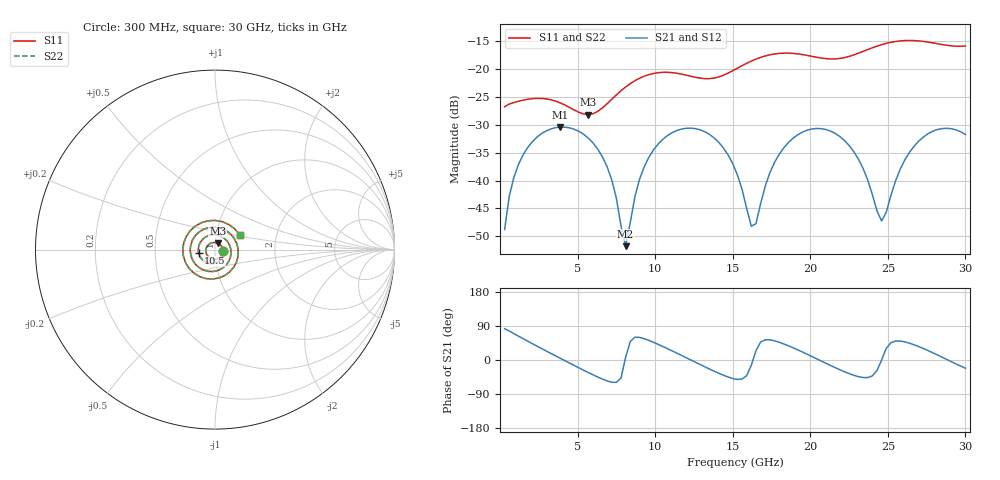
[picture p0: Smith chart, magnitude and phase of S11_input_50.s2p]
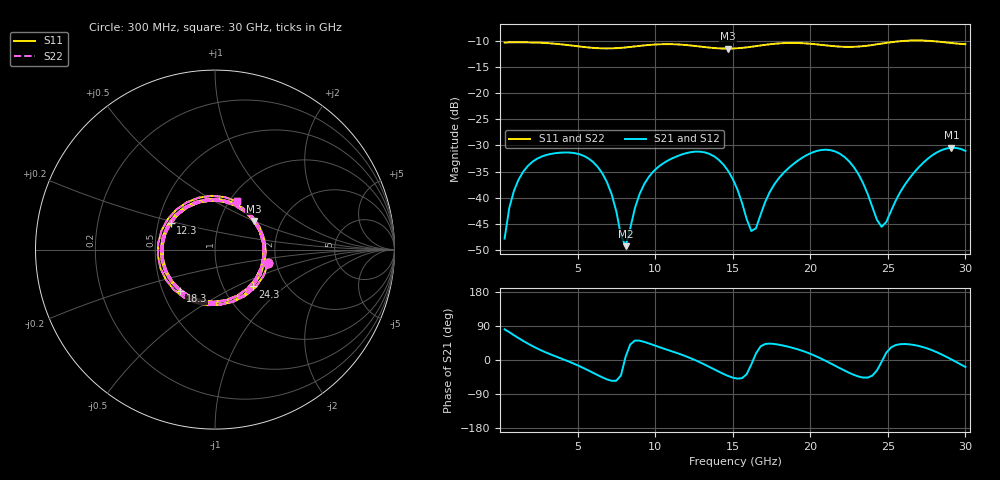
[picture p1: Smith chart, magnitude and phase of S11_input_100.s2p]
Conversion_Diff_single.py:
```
import matplotlib.pyplot as plt
import skrf as rf
from skrf import Network
import numpy as np
import math, cmath


plt.rcParams["font.family"] = "Century Gothic"
plt.rcParams["font.size"] = "14"

SP_input_50  = Network("SP/Test_diff/S11_input_50.s2p")
SP_input_100 = Network("SP/Test_diff/S11_input_100.s2p")
SP_input_200 = Network("SP/Test_diff/S11_input_200.s2p")
SP_input_400 = Network("SP/Test_diff/S11_input_400.s2p")

SP_load_50  = Network("SP/Test_diff/S11_load_50.s2p")
SP_load_100 = Network("SP/Test_diff/S11_load_100.s2p")
SP_load_200 = Network("SP/Test_diff/S11_load_200.s2p")
SP_load_400 = Network("SP/Test_diff/S11_load_400.s2p")

Sdd11_load_50  = 0.5*(SP_load_50.s[:, 1-1, 1-1]+SP_load_50.s[:, 2-1, 2-1])
Sdd11_load_100 = 0.5*(SP_load_100.s[:, 1-1, 1-1]+SP_load_100.s[:, 2-1, 2-1])
Sdd11_load_200 = 0.5*(SP_load_200.s[:, 1-1, 1-1]+SP_load_200.s[:, 2-1, 2-1])
Sdd11_load_400 = 0.5*(SP_load_400.s[:, 1-1, 1-1]+SP_load_400.s[:, 2-1, 2-1])

Sdd11_input_50   = 0.5*(SP_input_50.s[:, 1-1, 1-1]-SP_input_50.s[:, 1-1, 2-1]-SP_input_50.s[:, 2-1, 1-1]+SP_input_50.s[:, 2-1, 2-1])
Sdd11_input_100  = 0.5*(SP_input_100.s[:, 1-1, 1-1]-SP_input_100.s[:, 1-1, 2-1]-SP_input_100.s[:, 2-1, 1-1]+SP_input_100.s[:, 2-1, 2-1])
Sdd11_input_200  = 0.5*(SP_input_200.s[:, 1-1, 1-1]-SP_input_200.s[:, 1-1, 2-1]-SP_input_200.s[:, 2-1, 1-1]+SP_input_200.s[:, 2-1, 2-1])
Sdd11_input_400  = 0.5*(SP_input_400.s[:, 1-1, 1-1]-SP_input_400.s[:, 1-1, 2-1]-SP_input_400.s[:, 2-1, 1-1]+SP_input_400.s[:, 2-1, 2-1])

F = SP_input_50.f[:]




with open("SP/Test_diff/Results/S11_input_50.s4p", "w") as file:
    file.write("# Hz	S	RI	R	50.000000 \n")
    for i in range(0, len(F)):
        file.write(f"{F[i]} {Sdd11_input_50[i].real} {Sdd11_input_50[i].imag} \n")

with open("SP/Test_diff/Results/S11_input_100.s4p", "w") as file:
    file.write("# Hz	S	RI	R	50.000000 \n")
    for i in range(0, len(F)):
        file.write(f"{F[i]} {Sdd11_input_100[i].real} {Sdd11_input_100[i].imag} \n")

with open("SP/Test_diff/Results/S11_input_200.s4p", "w") as file:
    file.write("# Hz	S	RI	R	50.000000 \n")
    for i in range(0, len(F)):
        file.write(f"{F[i]} {Sdd11_input_200[i].real} {Sdd11_input_200[i].imag} \n")

with open("SP/Test_diff/Results/S11_input_400.s4p", "w") as file:
    file.write("# Hz	S	RI	R	50.000000 \n")
    for i in range(0, len(F)):
        file.write(f"{F[i]} {Sdd11_input_400[i].real} {Sdd11_input_400[i].imag} \n")

#------

with open("SP/Test_diff/Results/S11_load_50.s4p", "w") as file:
    file.write("# Hz	S	RI	R	50.000000 \n")
    for i in range(0, len(F)):
        file.write(f"{F[i]} {Sdd11_load_50[i].real} {Sdd11_load_50[i].imag} \n")

with open("SP/Test_diff/Results/S11_load_100.s4p", "w") as file:
    file.write("# Hz	S	RI	R	50.000000 \n")
    for i in range(0, len(F)):
        file.write(f"{F[i]} {Sdd11_load_100[i].real} {Sdd11_load_100[i].imag} \n")

with open("SP/Test_diff/Results/S11_load_200.s4p", "w") as file:
    file.write("# Hz	S	RI	R	50.000000 \n")
    for i in range(0, len(F)):
        file.write(f"{F[i]} {Sdd11_load_200[i].real} {Sdd11_load_200[i].imag} \n")

with open("SP/Test_diff/Results/S11_load_400.s4p", "w") as file:
    file.write("# Hz	S	RI	R	50.000000 \n")
    for i in range(0, len(F)):
        file.write(f"{F[i]} {Sdd11_load_400[i].real} {Sdd11_load_400[i].imag} \n")










file.close()
```
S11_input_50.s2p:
! Created Tue Apr 13 08:52:09 2021
# hz S ri R 50
! 2 Port Network Data from SP1.SP block
! freq  reS11  imS11  reS21  imS21  reS12  imS12  reS22  imS22
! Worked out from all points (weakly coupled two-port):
!   100 points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, 300 MHz to 30 GHz, reference 50 ohm
!   highest |S21| = -30.42 dB at 3.9 GHz (marker M1); lowest = -51.8 dB at 8.1 GHz (marker M2)
!   lowest |S11| = -28.2 dB at 5.7 GHz (marker M3), VSWR 1.08, Z = 51.5 + j3.67 ohm
!   |S11| at or under -10 dB: start of sweep to end of sweep
!   |S22| runs from -28.2 to -14.9 dB; largest |S21 - S12| = 0
!   S11 on the Smith chart (normalised r, x): 300 MHz: 1.09, -0.02; 10.5 GHz: 0.83, -0.03; 30 GHz: 1.30, +0.22
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3e8  0.0451 -0.00846  0.000472 0.00362  0.000472 0.00362  0.0451 -0.00846
3.9e9  -0.0489 0.0076  0.03 0.00223  0.03 0.00223  -0.0489 0.0076
5.7e9  0.0158 0.0356  0.0201 -0.0131  0.0201 -0.0131  0.0158 0.0356
8.1e9  0.0216 -0.0653  0.00256 0.00032  0.00256 0.00032  0.0216 -0.0653
1.05e10  -0.0915 -0.0179  0.019 0.0136  0.019 0.0136  -0.0915 -0.0179
1.53e10  0.0752 -0.0681  0.00709 -0.0088  0.00709 -0.0088  0.0752 -0.0681
1.62e10  0.0158 -0.1164  0.00378 -0.000937  0.00378 -0.000937  0.0158 -0.1164
2.1e10  0.0316 0.1195  0.0284 -0.00417  0.0284 -0.00417  0.0316 0.1195
2.46e10  -0.0156 -0.1642  0.00434 4.58e-06  0.00434 4.58e-06  -0.0156 -0.1642
2.7e10  -0.1745 0.0357  0.0184 0.0131  0.0184 0.0131  -0.1745 0.0357
3e10  0.1367 0.0836  0.024 -0.00957  0.024 -0.00957  0.1367 0.0836
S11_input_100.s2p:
! Created Tue Apr 13 08:52:46 2021
# hz S ri R 50
! 2 Port Network Data from SP1.SP block
! freq  reS11  imS11  reS21  imS21  reS12  imS12  reS22  imS22
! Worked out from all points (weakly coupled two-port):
!   100 points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, 300 MHz to 30 GHz, reference 50 ohm
!   highest |S21| = -30.44 dB at 29.1 GHz (marker M1); lowest = -49.3 dB at 8.1 GHz (marker M2)
!   lowest |S11| = -11.4 dB at 14.7 GHz (marker M3), VSWR 1.73, Z = 72.4 + j24.9 ohm
!   |S11| at or under -10 dB: start of sweep to 25.87 GHz; 27.89 GHz to end of sweep
!   |S22| runs from -11.4 to -9.9 dB; largest |S21 - S12| = 0
!   S11 on the Smith chart (normalised r, x): 300 MHz: 1.82, -0.30; 12.3 GHz: 0.58, +0.19; 18.3 GHz: 0.61, -0.31; 24.3 GHz: 1.38, -0.62; 30 GHz: 1.08, +0.64
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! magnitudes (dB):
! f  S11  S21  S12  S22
! 300 MHz  -10.3  -47.9  -47.9  -10.3
! 4.5 GHz  -10.8  -31.4  -31.4  -10.8
! 8.1 GHz  -11.2  -49.3  -49.3  -11.2
! 12.3 GHz  -10.8  -31.3  -31.3  -10.8
! 14.7 GHz  -11.4  -34.8  -34.8  -11.4
! 15.3 GHz  -11.4  -38.4  -38.4  -11.4
! 18.3 GHz  -10.4  -35.2  -35.2  -10.4
! 21.9 GHz  -11.1  -31.6  -31.6  -11.1
! 24.3 GHz  -10.6  -44.3  -44.3  -10.6
! 29.1 GHz  -10.4  -30.4  -30.4  -10.4
! 30 GHz  -10.6  -31.0  -31.0  -10.6
